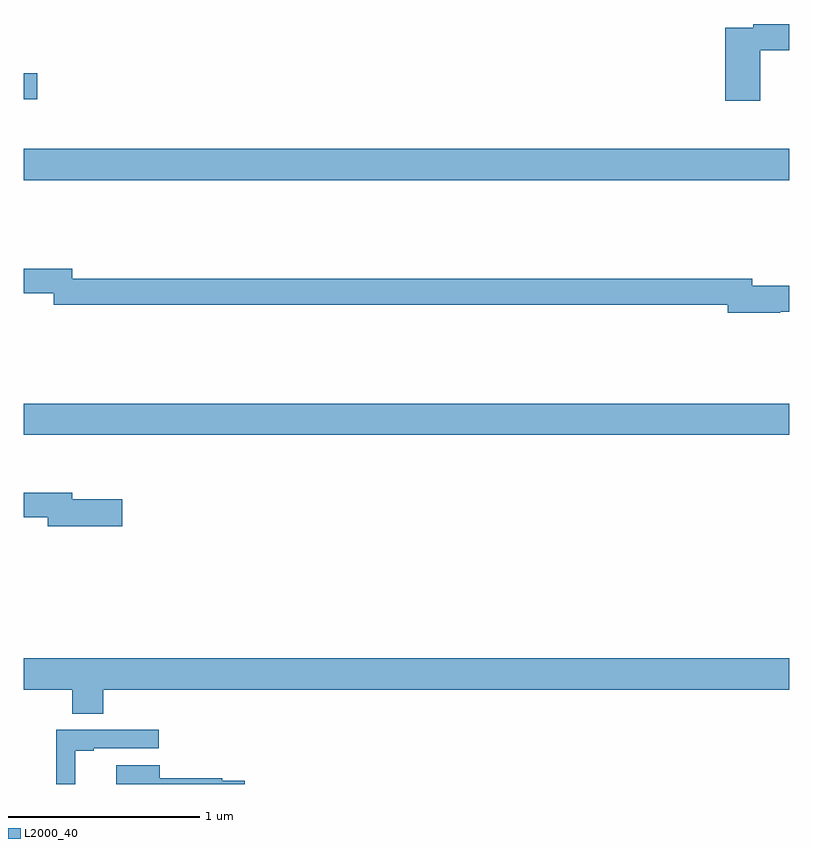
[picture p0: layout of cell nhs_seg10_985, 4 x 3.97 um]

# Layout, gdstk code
import gdstk
lib = gdstk.Library(unit=1e-6, precision=1e-09)
def R(c, l, rs):  # rectangles x0, y0, x1, y1
    for r in rs: c.add(gdstk.rectangle(r[:2], r[2:], *l))
def P(c, l, *ps):  # polygons
    for p in ps: c.add(gdstk.Polygon(p, *l))
L2000_40 = (2000, 40)

nhs_seg10_985 = lib.new_cell('nhs_seg10_985')
R(nhs_seg10_985, L2000_40, [(161,1292.324,165,1292.488), (161,1293.656,165,1293.82), (161,1294.079,161.071,1294.214)])
P(nhs_seg10_985, L2000_40, [(164.849,1294.336),(165,1294.336),(165,1294.472),(164.812,1294.472),(164.812,1294.452),(164.666,1294.452),(164.666,1294.071),(164.849,1294.071)],
  [(164.954,1292.969),(165,1292.969),(165,1293.104),(164.806,1293.104),(164.806,1293.14),(161.253,1293.14),(161.253,1293.193),(161,1293.193),(161,1293.064),(161.157,1293.064),(161.157,1293.004),(164.678,1293.004),(164.678,1292.962),(164.954,1292.962)],
  [(161.515,1291.989),(161.254,1291.989),(161.254,1292.023),(161,1292.023),(161,1291.894),(161.126,1291.894),(161.126,1291.847),(161.515,1291.847)],
  [(161.414,1290.992),(165,1290.992),(165,1291.156),(161,1291.156),(161,1290.992),(161.254,1290.992),(161.254,1290.868),(161.414,1290.868)],
  [(161.27,1290.675),(161.365,1290.675),(161.365,1290.687),(161.704,1290.687),(161.704,1290.783),(161.17,1290.783),(161.17,1290.5),(161.27,1290.5)],
  [(162.155,1290.516),(162.038,1290.516),(162.038,1290.529),(161.71,1290.529),(161.71,1290.598),(161.483,1290.598),(161.483,1290.5),(162.155,1290.5)])

lib.write_gds('nhs_seg10_985.gds')
